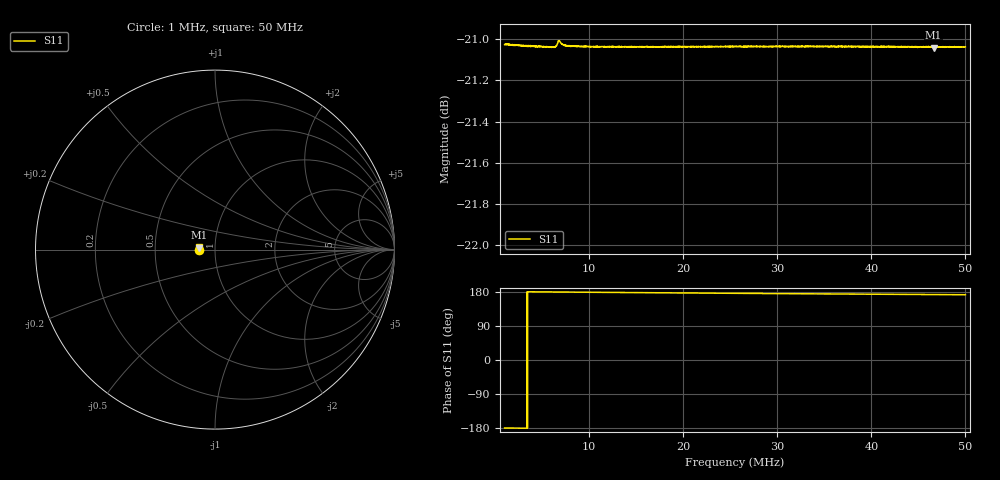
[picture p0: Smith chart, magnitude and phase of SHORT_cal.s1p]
! Created with skrf (http://scikit-rf.org).
# Hz S RI R 50.0
!freq ReS11 ImS11
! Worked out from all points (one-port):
!   2000 points, 1 MHz to 50 MHz, reference 50 ohm
!   lowest |S11| = -21.0 dB at 46.62 MHz (marker M1), VSWR 1.19, Z = 41.9 + j0.957 ohm
!   |S11| at or under -10 dB: start of sweep to end of sweep
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1000000  -0.0889 -0.000815
1294144  -0.0889 -0.000695
1833408  -0.0888 -0.000497
2299136  -0.0888 -0.00034
2960960  -0.0888 -0.000142
6098496  -0.0887 0.000744
6270080  -0.0887 0.000785
6368128  -0.0887 0.000801
6441664  -0.0888 0.000764
6662272  -0.089 0.000727
6809344  -0.0891 0.000856
6931904  -0.089 0.00097
7128000  -0.0889 0.00107
7275072  -0.0888 0.00112
7422144  -0.0888 0.00116
7642752  -0.0888 0.00123
8010432  -0.0888 0.00131
1.016749e7  -0.0887 0.00195
1.3256e7  -0.0887 0.00284
1.727597e7  -0.0886 0.00398
1.813389e7  -0.0887 0.00422
1.9384e7  -0.0886 0.00456
2.5512e7  -0.0886 0.00621
3.164e7  -0.0884 0.00781
3.7768e7  -0.0883 0.00932
4.3896e7  -0.0881 0.0107
4.661683e7  -0.088 0.0113
4.999949e7  -0.0879 0.0121
